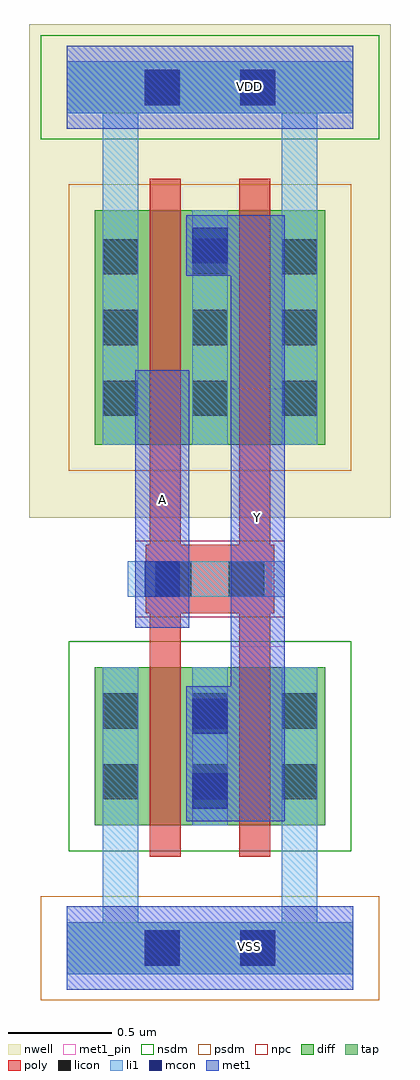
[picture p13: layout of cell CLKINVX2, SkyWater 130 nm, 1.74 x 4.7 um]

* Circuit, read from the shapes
.subckt CLKINVX2 A VDD VSS Y
XM1 Y A VSS VSS sky130_fd_pr__nfet_01v8 w=0.76 l=0.15 m=2
XM2 Y A VDD VDD sky130_fd_pr__pfet_01v8 w=1.13 l=0.15 m=2
.ends

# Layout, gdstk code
import gdstk
lib = gdstk.Library(unit=1e-6, precision=1e-09)
def R(c, l, rs):  # rectangles x0, y0, x1, y1
    for r in rs: c.add(gdstk.rectangle(r[:2], r[2:], *l))
def A(c, l, x, y, w, h, nx, ny, dx, dy):  # array of equal rectangles
    R(c, l, [(x+i*dx, y+j*dy, x+i*dx+w, y+j*dy+h) for i in range(nx) for j in range(ny)])
nwell = (64, 20)
diff = (65, 20)
tap = (65, 44)
poly = (66, 20)
licon = (66, 44)
li1 = (67, 20)
mcon = (67, 44)
met1_pin = (68, 16)
met1 = (68, 20)
nsdm = (93, 44)
psdm = (94, 20)
npc = (95, 20)

clkinvx2 = lib.new_cell('CLKINVX2')
R(clkinvx2, nwell, [(-0.18,2.07,1.56,4.445)])
R(clkinvx2, diff, [(0.135,0.59,1.245,1.35), (0.135,2.42,1.245,3.55)])
R(clkinvx2, tap, [(0,-0.125,1.38,0.125), (0,4.015,1.38,4.265)])
R(clkinvx2, poly, [(0.4,0.44,0.55,1.61), (0.83,0.44,0.98,1.61), (0.38,1.61,1,1.94), (0.4,1.94,0.55,3.7), (0.83,1.94,0.98,3.7)])
A(clkinvx2, licon, 0.175, 0.715, 0.17, 0.17, 3, 2, 0.43, 0.34)
A(clkinvx2, licon, 0.175, 2.56, 0.17, 0.17, 3, 3, 0.43, 0.34)
R(clkinvx2, licon, [(0.375,-0.085,0.545,0.085), (0.835,-0.085,1.005,0.085), (0.43,1.69,0.6,1.86), (0.78,1.69,0.95,1.86), (0.375,4.055,0.545,4.225), (0.835,4.055,1.005,4.225)])
R(clkinvx2, li1, [(0,-0.125,1.38,0.125), (0.175,0.125,0.345,1.35), (1.035,0.125,1.205,1.35), (0.605,0.59,0.775,1.35), (0.295,1.69,1.05,1.86), (0.175,2.42,0.345,4.015), (0.605,2.42,0.775,3.55), (1.035,2.42,1.205,4.015), (0,4.015,1.38,4.265)])
R(clkinvx2, mcon, [(0.375,-0.085,0.545,0.085), (0.835,-0.085,1.005,0.085), (0.605,0.67,0.775,0.84), (0.605,1.03,0.775,1.2), (0.375,1.69,0.545,1.86), (0.605,3.295,0.775,3.465), (0.375,4.055,0.545,4.225), (0.835,4.055,1.005,4.225)])
R(clkinvx2, met1_pin, [(0.79,1.45,1.05,2.69), (0.33,1.54,0.59,2.78)])
R(clkinvx2, met1, [(0,-0.2,1.38,0.2), (0.575,0.61,1.05,1.26), (0.79,1.26,1.05,3.235), (0.33,1.54,0.59,2.78), (0.575,3.235,1.05,3.525), (0,3.94,1.38,4.34)])
R(clkinvx2, nsdm, [(0.01,0.465,1.37,1.475), (-0.125,3.89,1.505,4.39)])
R(clkinvx2, psdm, [(-0.125,-0.25,1.505,0.25), (0.01,2.295,1.37,3.675)])
R(clkinvx2, npc, [(0.33,1.59,1.05,1.96)])
clkinvx2.add(gdstk.Label('VSS', (0.88,0.005), layer=68, texttype=5))
clkinvx2.add(gdstk.Label('VDD', (0.88,4.145), layer=68, texttype=5))
clkinvx2.add(gdstk.Label('Y', (0.92,2.07), layer=68, texttype=5))
clkinvx2.add(gdstk.Label('A', (0.46,2.16), layer=68, texttype=5))

lib.write_gds('CLKINVX2.gds')
